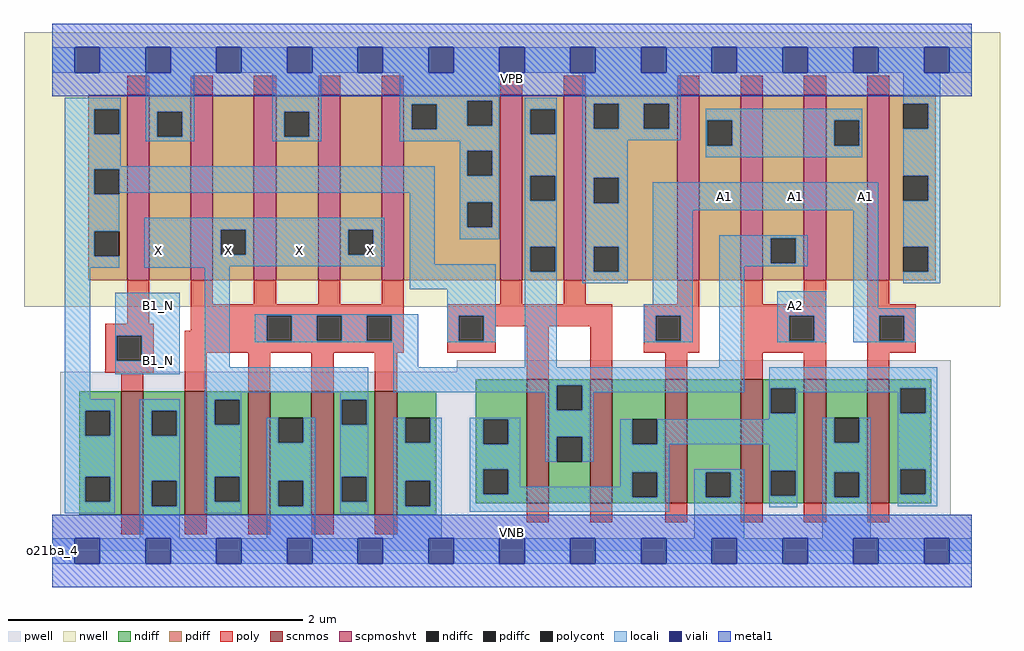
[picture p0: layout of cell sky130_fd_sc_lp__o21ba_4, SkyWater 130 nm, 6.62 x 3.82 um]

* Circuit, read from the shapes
.subckt sky130_fd_sc_lp__o21ba_4 A1 A2 B1_N VGND VNB VPB VPWR X
XM1 VGND B1_N n1 VNB sky130_fd_pr__nfet_01v8 w=0.84 l=0.15
XM2 X n2 VGND VNB sky130_fd_pr__nfet_01v8 w=0.84 l=0.15 m=4
XM3 n2 n1 n3 VNB sky130_fd_pr__nfet_01v8 w=0.84 l=0.15 m=2
XM4 VGND A1 n3 VNB sky130_fd_pr__nfet_01v8 w=0.84 l=0.15 m=2
XM5 n3 A2 VGND VNB sky130_fd_pr__nfet_01v8 w=0.84 l=0.15 m=2
XM6 VPWR B1_N n1 VPB sky130_fd_pr__pfet_01v8_hvt w=1.26 l=0.15
XM7 X n2 VPWR VPB sky130_fd_pr__pfet_01v8_hvt w=1.26 l=0.15 m=4
XM8 n2 n1 VPWR VPB sky130_fd_pr__pfet_01v8_hvt w=1.26 l=0.15 m=2
XM9 n4 A1 VPWR VPB sky130_fd_pr__pfet_01v8_hvt w=1.26 l=0.15 m=2
XM10 n2 A2 n4 VPB sky130_fd_pr__pfet_01v8_hvt w=1.26 l=0.15 m=2
.ends

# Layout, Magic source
magic
tech sky130A
magscale 1 2
<< nwell >>
rect -38 331 1286 704
<< pwell >>
rect 549 243 1219 259
rect 11 49 1219 243
rect 0 0 1248 49
<< scnmos >>
rect 94 49 124 217
rect 180 49 210 217
rect 266 49 296 217
rect 352 49 382 217
rect 438 49 468 217
rect 644 65 674 233
rect 730 65 760 233
rect 832 65 862 233
rect 934 65 964 233
rect 1020 65 1050 233
rect 1106 65 1136 233
<< scpmoshvt >>
rect 102 367 132 619
rect 188 367 218 619
rect 274 367 304 619
rect 361 367 391 619
rect 447 367 477 619
rect 608 367 638 619
rect 694 367 724 619
rect 848 367 878 619
rect 934 367 964 619
rect 1020 367 1050 619
rect 1106 367 1136 619
<< ndiff >>
rect 37 190 94 217
rect 37 156 45 190
rect 79 156 94 190
rect 37 101 94 156
rect 37 67 45 101
rect 79 67 94 101
rect 37 49 94 67
rect 124 190 180 217
rect 124 156 135 190
rect 169 156 180 190
rect 124 95 180 156
rect 124 61 135 95
rect 169 61 180 95
rect 124 49 180 61
rect 210 205 266 217
rect 210 171 221 205
rect 255 171 266 205
rect 210 101 266 171
rect 210 67 221 101
rect 255 67 266 101
rect 210 49 266 67
rect 296 181 352 217
rect 296 147 307 181
rect 341 147 352 181
rect 296 95 352 147
rect 296 61 307 95
rect 341 61 352 95
rect 296 49 352 61
rect 382 205 438 217
rect 382 171 393 205
rect 427 171 438 205
rect 382 101 438 171
rect 382 67 393 101
rect 427 67 438 101
rect 382 49 438 67
rect 468 181 521 217
rect 468 147 479 181
rect 513 147 521 181
rect 468 95 521 147
rect 468 61 479 95
rect 513 61 521 95
rect 575 179 644 233
rect 575 145 585 179
rect 619 145 644 179
rect 575 111 644 145
rect 575 77 585 111
rect 619 77 644 111
rect 575 65 644 77
rect 674 225 730 233
rect 674 191 685 225
rect 719 191 730 225
rect 674 155 730 191
rect 674 121 685 155
rect 719 121 730 155
rect 674 65 730 121
rect 760 179 832 233
rect 760 145 787 179
rect 821 145 832 179
rect 760 107 832 145
rect 760 73 787 107
rect 821 73 832 107
rect 760 65 832 73
rect 862 107 934 233
rect 862 73 887 107
rect 921 73 934 107
rect 862 65 934 73
rect 964 221 1020 233
rect 964 187 975 221
rect 1009 187 1020 221
rect 964 109 1020 187
rect 964 75 975 109
rect 1009 75 1020 109
rect 964 65 1020 75
rect 1050 181 1106 233
rect 1050 147 1061 181
rect 1095 147 1106 181
rect 1050 107 1106 147
rect 1050 73 1061 107
rect 1095 73 1106 107
rect 1050 65 1106 73
rect 1136 221 1193 233
rect 1136 187 1151 221
rect 1185 187 1193 221
rect 1136 111 1193 187
rect 1136 77 1151 111
rect 1185 77 1193 111
rect 1136 65 1193 77
rect 468 49 521 61
<< pdiff >>
rect 49 599 102 619
rect 49 565 57 599
rect 91 565 102 599
rect 49 518 102 565
rect 49 484 57 518
rect 91 484 102 518
rect 49 434 102 484
rect 49 400 57 434
rect 91 400 102 434
rect 49 367 102 400
rect 132 596 188 619
rect 132 562 143 596
rect 177 562 188 596
rect 132 367 188 562
rect 218 436 274 619
rect 218 402 229 436
rect 263 402 274 436
rect 218 367 274 402
rect 304 596 361 619
rect 304 562 315 596
rect 349 562 361 596
rect 304 367 361 562
rect 391 436 447 619
rect 391 402 402 436
rect 436 402 447 436
rect 391 367 447 402
rect 477 611 608 619
rect 477 606 563 611
rect 477 572 488 606
rect 522 577 563 606
rect 597 577 608 611
rect 522 572 608 577
rect 477 543 608 572
rect 477 509 563 543
rect 597 509 608 543
rect 477 473 608 509
rect 477 439 563 473
rect 597 439 608 473
rect 477 367 608 439
rect 638 599 694 619
rect 638 565 649 599
rect 683 565 694 599
rect 638 509 694 565
rect 638 475 649 509
rect 683 475 694 509
rect 638 413 694 475
rect 638 379 649 413
rect 683 379 694 413
rect 638 367 694 379
rect 724 607 848 619
rect 724 573 735 607
rect 769 573 803 607
rect 837 573 848 607
rect 724 506 848 573
rect 724 472 735 506
rect 769 472 848 506
rect 724 413 848 472
rect 724 379 735 413
rect 769 379 848 413
rect 724 367 848 379
rect 878 584 934 619
rect 878 550 889 584
rect 923 550 934 584
rect 878 367 934 550
rect 964 424 1020 619
rect 964 390 975 424
rect 1009 390 1020 424
rect 964 367 1020 390
rect 1050 584 1106 619
rect 1050 550 1061 584
rect 1095 550 1106 584
rect 1050 367 1106 550
rect 1136 607 1199 619
rect 1136 573 1155 607
rect 1189 573 1199 607
rect 1136 509 1199 573
rect 1136 475 1155 509
rect 1189 475 1199 509
rect 1136 413 1199 475
rect 1136 379 1155 413
rect 1189 379 1199 413
rect 1136 367 1199 379
<< ndiffc >>
rect 45 156 79 190
rect 45 67 79 101
rect 135 156 169 190
rect 135 61 169 95
rect 221 171 255 205
rect 221 67 255 101
rect 307 147 341 181
rect 307 61 341 95
rect 393 171 427 205
rect 393 67 427 101
rect 479 147 513 181
rect 479 61 513 95
rect 585 145 619 179
rect 585 77 619 111
rect 685 191 719 225
rect 685 121 719 155
rect 787 145 821 179
rect 787 73 821 107
rect 887 73 921 107
rect 975 187 1009 221
rect 975 75 1009 109
rect 1061 147 1095 181
rect 1061 73 1095 107
rect 1151 187 1185 221
rect 1151 77 1185 111
<< pdiffc >>
rect 57 565 91 599
rect 57 484 91 518
rect 57 400 91 434
rect 143 562 177 596
rect 229 402 263 436
rect 315 562 349 596
rect 402 402 436 436
rect 488 572 522 606
rect 563 577 597 611
rect 563 509 597 543
rect 563 439 597 473
rect 649 565 683 599
rect 649 475 683 509
rect 649 379 683 413
rect 735 573 769 607
rect 803 573 837 607
rect 735 472 769 506
rect 735 379 769 413
rect 889 550 923 584
rect 975 390 1009 424
rect 1061 550 1095 584
rect 1155 573 1189 607
rect 1155 475 1189 509
rect 1155 379 1189 413
<< poly >>
rect 102 619 132 645
rect 188 619 218 645
rect 274 619 304 645
rect 361 619 391 645
rect 447 619 477 645
rect 608 619 638 645
rect 694 619 724 645
rect 848 619 878 645
rect 934 619 964 645
rect 1020 619 1050 645
rect 1106 619 1136 645
rect 102 308 132 367
rect 188 335 218 367
rect 274 335 304 367
rect 361 335 391 367
rect 447 335 477 367
rect 608 335 638 367
rect 694 335 724 367
rect 848 335 878 367
rect 188 319 477 335
rect 72 292 138 308
rect 188 299 291 319
rect 72 258 88 292
rect 122 258 138 292
rect 72 242 138 258
rect 180 285 291 299
rect 325 285 359 319
rect 393 285 427 319
rect 461 285 477 319
rect 180 269 477 285
rect 536 319 760 335
rect 536 285 552 319
rect 586 305 760 319
rect 586 285 602 305
rect 536 269 602 285
rect 94 217 124 242
rect 180 217 210 269
rect 266 217 296 269
rect 352 217 382 269
rect 438 217 468 269
rect 644 233 674 305
rect 730 233 760 305
rect 803 319 878 335
rect 803 285 819 319
rect 853 285 878 319
rect 803 269 878 285
rect 934 335 964 367
rect 1020 335 1050 367
rect 934 319 1050 335
rect 934 285 1000 319
rect 1034 285 1050 319
rect 934 269 1050 285
rect 832 233 862 269
rect 934 233 964 269
rect 1020 233 1050 269
rect 1106 335 1136 367
rect 1106 319 1172 335
rect 1106 285 1122 319
rect 1156 285 1172 319
rect 1106 269 1172 285
rect 1106 233 1136 269
rect 94 23 124 49
rect 180 23 210 49
rect 266 23 296 49
rect 352 23 382 49
rect 438 23 468 49
rect 644 39 674 65
rect 730 39 760 65
rect 832 39 862 65
rect 934 39 964 65
rect 1020 39 1050 65
rect 1106 39 1136 65
<< polycont >>
rect 88 258 122 292
rect 291 285 325 319
rect 359 285 393 319
rect 427 285 461 319
rect 552 285 586 319
rect 819 285 853 319
rect 1000 285 1034 319
rect 1122 285 1156 319
<< locali >>
rect 0 649 31 683
rect 65 649 127 683
rect 161 649 223 683
rect 257 649 319 683
rect 353 649 415 683
rect 449 649 511 683
rect 545 649 607 683
rect 641 649 703 683
rect 737 649 799 683
rect 833 649 895 683
rect 929 649 991 683
rect 1025 649 1087 683
rect 1121 649 1183 683
rect 1217 649 1248 683
rect 17 599 93 615
rect 17 565 57 599
rect 91 565 93 599
rect 17 522 93 565
rect 127 596 193 649
rect 127 562 143 596
rect 177 562 193 596
rect 127 556 193 562
rect 299 596 365 649
rect 299 562 315 596
rect 349 562 365 596
rect 299 556 365 562
rect 472 611 607 649
rect 472 606 563 611
rect 472 572 488 606
rect 522 577 563 606
rect 597 577 607 611
rect 522 572 607 577
rect 472 556 607 572
rect 553 543 607 556
rect 17 518 519 522
rect 17 484 57 518
rect 91 486 519 518
rect 17 434 91 484
rect 17 400 57 434
rect 17 384 91 400
rect 125 436 451 452
rect 125 402 229 436
rect 263 402 402 436
rect 436 402 451 436
rect 125 386 451 402
rect 485 389 519 486
rect 553 509 563 543
rect 597 509 607 543
rect 553 473 607 509
rect 553 439 563 473
rect 597 439 607 473
rect 553 423 607 439
rect 641 599 685 615
rect 641 565 649 599
rect 683 565 685 599
rect 641 509 685 565
rect 641 475 649 509
rect 683 475 685 509
rect 641 413 685 475
rect 125 384 241 386
rect 17 206 52 384
rect 86 292 173 350
rect 86 258 88 292
rect 122 258 173 292
rect 86 240 173 258
rect 207 249 241 384
rect 485 355 602 389
rect 275 319 497 321
rect 275 285 291 319
rect 325 285 359 319
rect 393 285 427 319
rect 461 285 497 319
rect 275 283 497 285
rect 536 319 602 355
rect 536 285 552 319
rect 586 285 602 319
rect 536 283 602 285
rect 641 379 649 413
rect 683 379 685 413
rect 463 249 497 283
rect 641 249 685 379
rect 719 607 853 649
rect 719 573 735 607
rect 769 573 803 607
rect 837 573 853 607
rect 1155 607 1205 649
rect 719 557 853 573
rect 887 584 1099 600
rect 719 506 781 557
rect 887 550 889 584
rect 923 550 1061 584
rect 1095 550 1099 584
rect 887 534 1099 550
rect 1189 573 1205 607
rect 719 472 735 506
rect 769 472 781 506
rect 1155 509 1205 573
rect 719 413 781 472
rect 719 379 735 413
rect 769 379 781 413
rect 719 363 781 379
rect 815 462 1121 500
rect 815 335 869 462
rect 803 319 869 335
rect 803 285 819 319
rect 853 285 869 319
rect 803 283 869 285
rect 905 424 1025 428
rect 905 390 975 424
rect 1009 390 1025 424
rect 905 386 1025 390
rect 905 249 939 386
rect 984 319 1050 352
rect 984 285 1000 319
rect 1034 285 1050 319
rect 984 283 1050 285
rect 1087 329 1121 462
rect 1189 475 1205 509
rect 1155 413 1205 475
rect 1189 379 1205 413
rect 1155 363 1205 379
rect 1087 319 1172 329
rect 1087 285 1122 319
rect 1156 285 1172 319
rect 1087 283 1172 285
rect 207 215 429 249
rect 463 225 939 249
rect 463 215 685 225
rect 17 190 85 206
rect 17 156 45 190
rect 79 156 85 190
rect 17 101 85 156
rect 17 67 45 101
rect 79 67 85 101
rect 17 51 85 67
rect 119 190 173 206
rect 119 156 135 190
rect 169 156 173 190
rect 119 95 173 156
rect 119 61 135 95
rect 169 61 173 95
rect 119 17 173 61
rect 207 205 257 215
rect 207 171 221 205
rect 255 171 257 205
rect 391 205 429 215
rect 207 101 257 171
rect 207 67 221 101
rect 255 67 257 101
rect 207 51 257 67
rect 291 147 307 181
rect 341 147 357 181
rect 291 95 357 147
rect 291 61 307 95
rect 341 61 357 95
rect 291 17 357 61
rect 391 171 393 205
rect 427 171 429 205
rect 669 191 685 215
rect 719 215 939 225
rect 973 221 1201 249
rect 719 191 735 215
rect 391 101 429 171
rect 391 67 393 101
rect 427 67 429 101
rect 391 51 429 67
rect 463 147 479 181
rect 513 147 529 181
rect 463 95 529 147
rect 463 61 479 95
rect 513 61 529 95
rect 463 17 529 61
rect 567 179 635 181
rect 567 145 585 179
rect 619 145 635 179
rect 567 111 635 145
rect 669 155 735 191
rect 973 187 975 221
rect 1009 215 1151 221
rect 1009 187 1011 215
rect 973 179 1011 187
rect 1147 187 1151 215
rect 1185 187 1201 221
rect 669 121 685 155
rect 719 121 735 155
rect 771 145 787 179
rect 821 145 1011 179
rect 567 77 585 111
rect 619 87 635 111
rect 771 107 837 145
rect 771 87 787 107
rect 619 77 787 87
rect 567 73 787 77
rect 821 73 837 107
rect 567 53 837 73
rect 871 107 939 111
rect 871 73 887 107
rect 921 73 939 107
rect 871 17 939 73
rect 973 109 1011 145
rect 973 75 975 109
rect 1009 75 1011 109
rect 973 59 1011 75
rect 1045 147 1061 181
rect 1095 147 1111 181
rect 1045 107 1111 147
rect 1045 73 1061 107
rect 1095 73 1111 107
rect 1045 17 1111 73
rect 1147 111 1201 187
rect 1147 77 1151 111
rect 1185 77 1201 111
rect 1147 61 1201 77
rect 0 -17 31 17
rect 65 -17 127 17
rect 161 -17 223 17
rect 257 -17 319 17
rect 353 -17 415 17
rect 449 -17 511 17
rect 545 -17 607 17
rect 641 -17 703 17
rect 737 -17 799 17
rect 833 -17 895 17
rect 929 -17 991 17
rect 1025 -17 1087 17
rect 1121 -17 1183 17
rect 1217 -17 1248 17
<< viali >>
rect 31 649 65 683
rect 127 649 161 683
rect 223 649 257 683
rect 319 649 353 683
rect 415 649 449 683
rect 511 649 545 683
rect 607 649 641 683
rect 703 649 737 683
rect 799 649 833 683
rect 895 649 929 683
rect 991 649 1025 683
rect 1087 649 1121 683
rect 1183 649 1217 683
rect 31 -17 65 17
rect 127 -17 161 17
rect 223 -17 257 17
rect 319 -17 353 17
rect 415 -17 449 17
rect 511 -17 545 17
rect 607 -17 641 17
rect 703 -17 737 17
rect 799 -17 833 17
rect 895 -17 929 17
rect 991 -17 1025 17
rect 1087 -17 1121 17
rect 1183 -17 1217 17
<< metal1 >>
rect 0 683 1248 715
rect 0 649 31 683
rect 65 649 127 683
rect 161 649 223 683
rect 257 649 319 683
rect 353 649 415 683
rect 449 649 511 683
rect 545 649 607 683
rect 641 649 703 683
rect 737 649 799 683
rect 833 649 895 683
rect 929 649 991 683
rect 1025 649 1087 683
rect 1121 649 1183 683
rect 1217 649 1248 683
rect 0 617 1248 649
rect 0 17 1248 49
rect 0 -17 31 17
rect 65 -17 127 17
rect 161 -17 223 17
rect 257 -17 319 17
rect 353 -17 415 17
rect 449 -17 511 17
rect 545 -17 607 17
rect 641 -17 703 17
rect 737 -17 799 17
rect 833 -17 895 17
rect 929 -17 991 17
rect 1025 -17 1087 17
rect 1121 -17 1183 17
rect 1217 -17 1248 17
rect 0 -49 1248 -17
<< labels >>
flabel pwell s 0 0 1248 49 0 FreeSans 200 0 0 0 VNB
port 5 nsew ground bidirectional
flabel nwell s 0 617 1248 666 0 FreeSans 200 0 0 0 VPB
port 6 nsew power bidirectional
rlabel comment s 0 0 0 0 4 o21ba_4
flabel metal1 s 0 617 1248 666 0 FreeSans 340 0 0 0 VPWR
port 7 nsew power bidirectional
flabel metal1 s 0 0 1248 49 0 FreeSans 340 0 0 0 VGND
port 4 nsew ground bidirectional
flabel locali s 127 390 161 424 0 FreeSans 340 0 0 0 X
port 8 nsew signal output
flabel locali s 223 390 257 424 0 FreeSans 340 0 0 0 X
port 8 nsew signal output
flabel locali s 319 390 353 424 0 FreeSans 340 0 0 0 X
port 8 nsew signal output
flabel locali s 415 390 449 424 0 FreeSans 340 0 0 0 X
port 8 nsew signal output
flabel locali s 895 464 929 498 0 FreeSans 340 0 0 0 A1
port 1 nsew signal input
flabel locali s 991 464 1025 498 0 FreeSans 340 0 0 0 A1
port 1 nsew signal input
flabel locali s 1087 464 1121 498 0 FreeSans 340 0 0 0 A1
port 1 nsew signal input
flabel locali s 991 316 1025 350 0 FreeSans 340 0 0 0 A2
port 2 nsew signal input
flabel locali s 127 242 161 276 0 FreeSans 340 0 0 0 B1_N
port 3 nsew signal input
flabel locali s 127 316 161 350 0 FreeSans 340 0 0 0 B1_N
port 3 nsew signal input
<< properties >>
string LEFsite unit
string LEFclass CORE
string FIXED_BBOX 0 0 1248 666
string GDS_FILE $PDKPATH/libs.ref/sky130_fd_sc_lp/gds/sky130_fd_sc_lp.gds
string LEFsymmetry X Y R90
string GDS_END 6510724
string GDS_START 6500230
<< end >>
